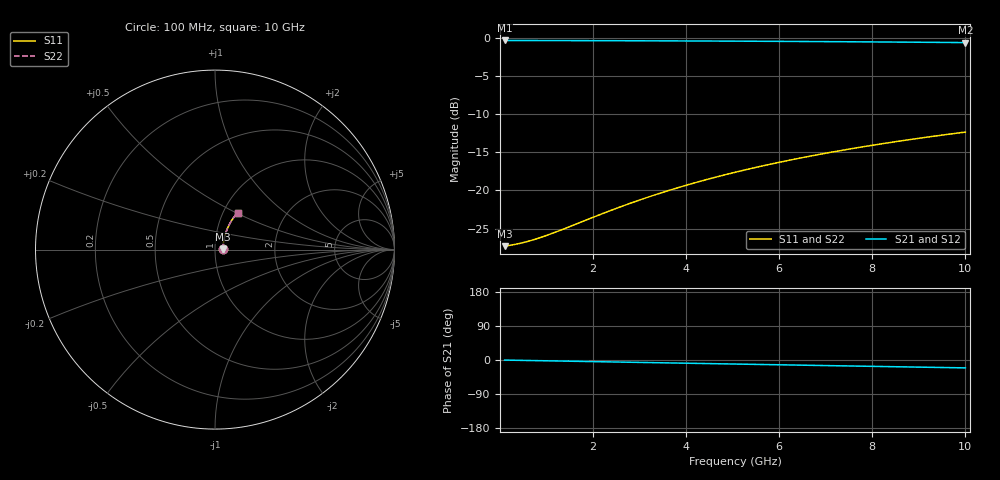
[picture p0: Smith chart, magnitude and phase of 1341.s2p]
# Hz S RI R 50.00
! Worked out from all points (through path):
!   100 points, 100 MHz to 10 GHz, reference 50 ohm
!   highest |S21| = -0.38 dB at 100 MHz (marker M1); lowest = -0.7 dB at 10 GHz (marker M2)
!   group delay of S21, straight-line fit = 5.79 ps
!   lowest |S11| = -27.3 dB at 100 MHz (marker M3), VSWR 1.09, Z = 54.5 + j0.253 ohm
!   |S11| at or under -10 dB: start of sweep to end of sweep
!   |S22| runs from -27.3 to -12.4 dB; largest |S21 - S12| = 0
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1e8  0.0431 0.00231  0.9569 -0.00355  0.9569 -0.00355  0.0431 0.00231
4e8  0.0438 0.00923  0.9562 -0.0142  0.9562 -0.0142  0.0438 0.00923
6e8  0.0442 0.0138  0.9557 -0.0213  0.9557 -0.0213  0.0442 0.0138
8e8  0.0447 0.0184  0.9553 -0.0283  0.9553 -0.0283  0.0447 0.0184
1e9  0.0452 0.023  0.9548 -0.0354  0.9548 -0.0354  0.0452 0.023
1.2e9  0.0457 0.0276  0.9542 -0.0424  0.9542 -0.0424  0.0457 0.0276
1.8e9  0.0476 0.0413  0.9521 -0.0636  0.9521 -0.0636  0.0476 0.0413
2.2e9  0.0491 0.0503  0.9505 -0.0776  0.9505 -0.0776  0.0491 0.0503
2.6e9  0.0509 0.0593  0.9485 -0.0915  0.9485 -0.0915  0.0509 0.0593
3e9  0.053 0.0683  0.9463 -0.1054  0.9463 -0.1054  0.053 0.0683
3.4e9  0.0553 0.0771  0.9438 -0.1192  0.9438 -0.1192  0.0553 0.0771
3.8e9  0.0578 0.0859  0.941 -0.1329  0.941 -0.1329  0.0578 0.0859
4.2e9  0.0606 0.0946  0.938 -0.1466  0.938 -0.1466  0.0606 0.0946
4.6e9  0.0636 0.1032  0.9347 -0.1601  0.9347 -0.1601  0.0636 0.1032
5.1e9  0.0677 0.1137  0.9302 -0.1768  0.9302 -0.1768  0.0677 0.1137
5.5e9  0.0713 0.122  0.9263 -0.1901  0.9263 -0.1901  0.0713 0.122
5.9e9  0.0751 0.1302  0.9221 -0.2033  0.9221 -0.2033  0.0751 0.1302
6.7e9  0.0833 0.1462  0.9131 -0.2291  0.9131 -0.2291  0.0833 0.1462
7.5e9  0.0924 0.1615  0.9031 -0.2544  0.9031 -0.2544  0.0924 0.1615
8.4e9  0.1036 0.178  0.8908 -0.2821  0.8908 -0.2821  0.1036 0.178
9.2e9  0.1143 0.1919  0.8789 -0.306  0.8789 -0.306  0.1143 0.1919
1e10  0.1257 0.2051  0.8663 -0.3292  0.8663 -0.3292  0.1257 0.2051
